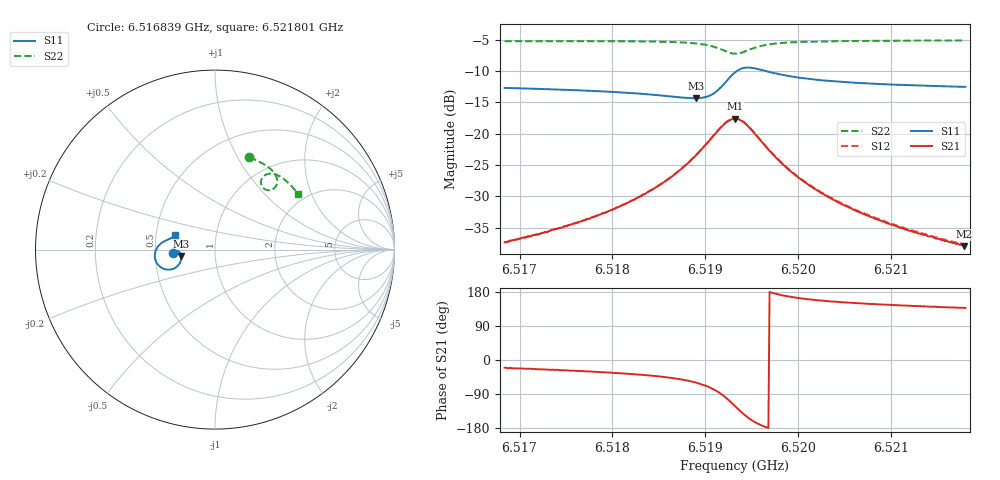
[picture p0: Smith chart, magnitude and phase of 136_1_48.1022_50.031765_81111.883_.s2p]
#  HZ  S  RI  R  50.00
! Rohde & Schwarz Vector Network Analyzer
! Rohde-Schwarz,ZNB20-2Port,1311601062101988,3.16
! Created: UTC 12/23/2023, 3:48:16 AM
! freq[Hz]  re:S11  im:S11  re:S21  im:S21  re:S12  im:S12  re:S22  im:S22
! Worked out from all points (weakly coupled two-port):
!   401 points, 6.516839 GHz to 6.521801 GHz, reference 50 ohm
!   highest |S21| = -17.60 dB at 6.51932 GHz (marker M1); lowest = -38.0 dB at 6.521789 GHz (marker M2)
!   lowest |S11| = -14.3 dB at 6.518899 GHz (marker M3), VSWR 1.48, Z = 34 - j2.54 ohm
!   |S11| at or under -10 dB: start of sweep to 6.519338 GHz; 6.519658 GHz to end of sweep
!   |S22| runs from -7.2 to -5.1 dB; largest |S21 - S12| = 0.004
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6.5168394e9  -0.2315 -0.0201  0.0128 -0.0047  0.0128 -0.00443  0.1917 0.5133
6.5171992e9  -0.2279 -0.0145  0.0143 -0.00643  0.0145 -0.00599  0.2185 0.503
6.5176706e9  -0.2218 -0.00859  0.0176 -0.00975  0.0178 -0.00935  0.2533 0.4864
6.5181544e9  -0.2126 -0.00586  0.0225 -0.0165  0.0231 -0.0158  0.2896 0.4646
6.5185017e9  -0.2027 -0.00966  0.0282 -0.0265  0.0291 -0.0258  0.3162 0.4425
6.5186754e9  -0.1964 -0.0161  0.0314 -0.0359  0.0327 -0.035  0.3299 0.4273
6.5188987e9  -0.1887 -0.0359  0.034 -0.0578  0.036 -0.057  0.3446 0.3986
6.5190103e9  -0.189 -0.0555  0.0302 -0.0767  0.0328 -0.0763  0.347 0.3774
6.5190971e9  -0.197 -0.0768  0.0198 -0.0959  0.0229 -0.0961  0.3417 0.3572
6.5192212e9  -0.2358 -0.108  -0.0196 -0.1207  -0.0161 -0.1221  0.3123 0.3323
6.5193204e9  -0.291 -0.1048  -0.069 -0.1123  -0.0662 -0.1151  0.2747 0.3386
6.51937e9  -0.315 -0.0872  -0.0885 -0.0943  -0.0865 -0.0976  0.2612 0.3538
6.5194321e9  -0.332 -0.057  -0.1004 -0.0663  -0.0993 -0.0696  0.2562 0.3768
6.5195313e9  -0.3328 -0.0131  -0.0964 -0.0286  -0.0963 -0.0316  0.2679 0.4055
6.519643e9  -0.3178 0.0175  -0.0802 -0.00515  -0.0807 -0.00751  0.2903 0.4202
6.5198911e9  -0.2865 0.0442  -0.0511 0.0111  -0.052 0.00959  0.3311 0.4209
6.5201516e9  -0.2669 0.0537  -0.0349 0.0133  -0.0357 0.0126  0.3599 0.4089
6.5205361e9  -0.2501 0.061  -0.0229 0.0125  -0.0235 0.0119  0.3908 0.3876
6.5209827e9  -0.2381 0.0676  -0.0157 0.0107  -0.0163 0.0104  0.419 0.3613
6.5213176e9  -0.2314 0.0723  -0.0125 0.00976  -0.0129 0.00965  0.4374 0.3412
6.521789e9  -0.2235 0.0788  -0.00931 0.00856  -0.00977 0.00863  0.4604 0.312
6.5218014e9  -0.2233 0.0791  -0.00946 0.00875  -0.00987 0.00859  0.4609 0.3113
